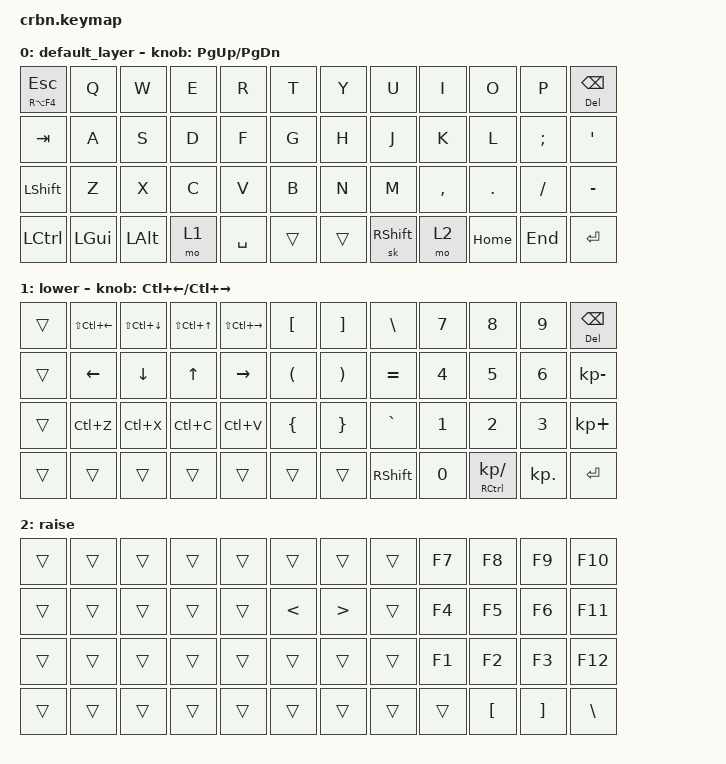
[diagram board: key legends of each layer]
/*
 * Copyright (c) 2020 The ZMK Contributors
 *
 * SPDX-License-Identifier: MIT
 */

#include <behaviors.dtsi>
#include <dt-bindings/zmk/keys.h>
#include <dt-bindings/zmk/bt.h>

/ {
	behaviors {
        tap: tappers {
            compatible = "zmk,behavior-hold-tap";
            label = "TAPPERS";
            #binding-cells = <2>;
            tapping-term-ms = <200>;
            quick_tap_ms = <0>;
            flavor = "tap-preferred";
            bindings = <&kp>, <&kp>;
        };
    };
	keymap {
		compatible = "zmk,keymap";

		default_layer {
				// -----------------------------------------------------------------------------------------
				// |  TAB  |  Q   |  W   |  E   |  R   |  T   |   Y   |  U    |  I   |  O   |   P   | BSPC  |
				// |  ESC  |  A   |  S   |  D   |  F   |  G   |   H   |  J    |  K   |  L   |   ;   |  '    |
				// | SHIFT |  Z   |  X   |  C   |  V   |  B   |   N   |  M    |  ,   |  .   |   /   |  RET  |
				// | LCTL  | LGUI | LALT | LCTL |     LOWR    |	    RAIS      | LARW | DARW | UARW  |  RARW |
			bindings = <
				&tap RA(F4) ESC           &kp Q    &kp W    &kp E &kp R      &kp T  &kp Y  &kp U     &kp I     &kp O     &kp P    &tap DEL BSPC
				&kp TAB           &kp A    &kp S    &kp D &kp F      &kp G  &kp H  &kp J     &kp K     &kp L     &kp SEMI &kp SQT
				&kp LSHFT         &kp Z    &kp X    &kp C &kp V      &kp B  &kp N  &kp M     &kp COMMA &kp DOT   &kp FSLH &kp MINUS
				&kp LCTRL         &kp LGUI &kp LALT &mo 1 &kp SPACE  &trans &trans &sk RSHFT &mo 2     &kp HOME  &kp END  &kp RET
			>;

			sensor-bindings = <&inc_dec_kp PG_UP PG_DN>;
		};

		lower {
			bindings = <
				&trans &kp LS(LC(LEFT)) &kp LS(LC(DOWN)) &kp LS(LC(UP)) &kp LS(LC(RIGHT)) &kp LBKT &kp RBKT &kp BSLH     &kp N7  &kp N8              &kp N9     &tap DEL BSPC
				&trans &kp LEFT         &kp DOWN         &kp UP         &kp RIGHT         &kp LPAR &kp RPAR &kp EQUAL       &kp N4  &kp N5              &kp N6     &kp KP_MINUS
				&trans &kp LC(Z)        &kp LC(X)        &kp LC(C)      &kp LC(V)         &kp LBRC &kp RBRC &kp GRAVE	       &kp N1  &kp N2              &kp N3     &kp KP_PLUS	
				&trans &trans           &trans           &trans         &trans            &trans   &trans   &kp RSHFT &kp N0  &mt RCTRL KP_SLASH  &kp KP_DOT &kp RET
			>;

			sensor-bindings = <&inc_dec_kp LC(LEFT) LC(RIGHT)>;
		};

		raise {
			bindings = <
				&trans &trans &trans &trans &trans &trans &trans &trans &kp F7 &kp F8   &kp F9     &kp F10
				&trans &trans &trans &trans &trans &kp LT &kp GT &trans &kp F4 &kp F5   &kp F6     &kp F11
				&trans &trans &trans &trans &trans &trans &trans &trans &kp F1 &kp F2   &kp F3     &kp F12
				&trans &trans &trans &trans &trans &trans &trans &trans &trans &kp LBKT &kp RBKT   &kp BSLH
			>;
		};
	};
};
